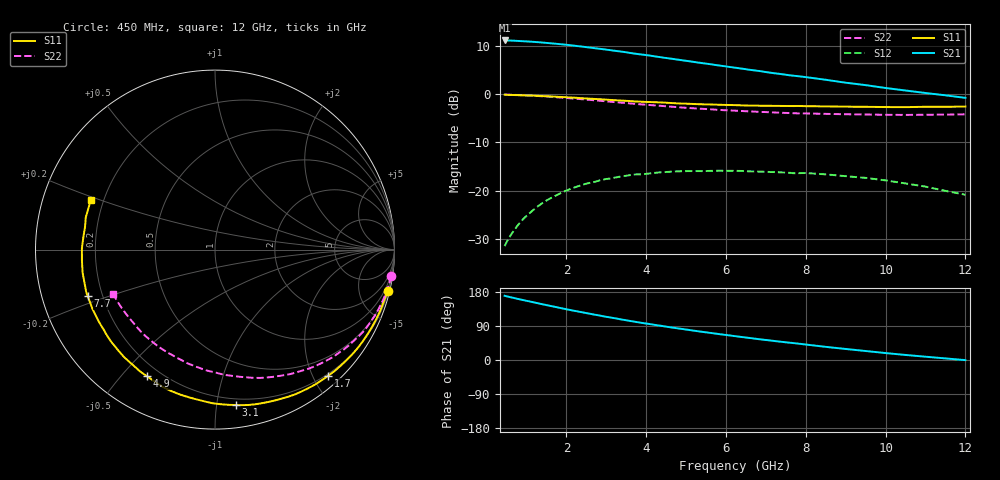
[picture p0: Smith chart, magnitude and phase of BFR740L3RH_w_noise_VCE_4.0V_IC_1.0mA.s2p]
! (c) 2012  Infineon Technologies AG, Munich
! Infineon Technologies  Discrete & RF Semiconductors
! BFR740L3RH
! VCE =  4.0 V,  IC =  1.0 mA
! Common Emitter S-Parameters:  May 2012
# GHz  S  MA  R  50
!  f  S11  S21  S12  S22
! GHz  MAG  ANG  MAG  ANG  MAG  ANG  MAG  ANG
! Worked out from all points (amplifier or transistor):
!   85 points, 450 MHz to 12 GHz, reference 50 ohm
!   highest |S21| = 11.2 dB at 450 MHz (marker M1)
!   |S21| within 3 dB of that: start of sweep to 3.966 GHz
!   unconditionally stable (mu >= 1): 10.41 GHz to end of sweep
!   at 1.8 GHz: K = 0.10, MSG = 15.6 dB, |S12| = -20.7 dB
!   at 4.6 GHz: K = 0.26, MSG = 11.7 dB, |S12| = -16.1 dB
!   at 12 GHz: K = 1.55, MAG = 5.7 dB, |S12| = -20.8 dB
!   lowest NFmin = 0.29 dB at 450 MHz
!   S11 on the Smith chart (normalised r, x): 450 MHz: 0.35, -8.43; 1.7 GHz: 0.17, -2.24; 3.1 GHz: 0.15, -1.13; 4.9 GHz: 0.15, -0.59; 7.7 GHz: 0.14, -0.17; 12 GHz: 0.15, +0.19
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0.45  0.9904 -13.5  3.614 169.4  0.0266 71.3  0.9944 -8.6
0.7  0.9815 -20.4  3.59 163.2  0.0396 74.3  0.985 -13.3
1  0.9723 -28.8  3.533 156.2  0.0549 68.3  0.973 -18.6
1.4  0.9575 -39.9  3.437 147.1  0.0746 61.1  0.9534 -25.8
1.7  0.9448 -48.0  3.351 140.5  0.0876 55.3  0.9357 -31.0
2.1  0.9259 -58.6  3.226 131.8  0.1043 47.9  0.9083 -37.7
2.4  0.9092 -66.0  3.117 125.7  0.1152 42.6  0.8878 -42.5
2.7  0.8947 -73.1  3.007 119.8  0.1234 37.5  0.8662 -47.0
3.1  0.8737 -82.4  2.865 112.2  0.134 31.1  0.8369 -53.0
3.4  0.8596 -89.1  2.761 106.6  0.141 26.5  0.8163 -57.4
3.8  0.8399 -97.6  2.609 99.4  0.1478 20.4  0.7898 -63.0
4.3  0.8245 -107.3  2.442 91.3  0.1544 13.6  0.7621 -69.6
4.7  0.808 -114.8  2.314 84.8  0.1582 8.3  0.7396 -74.7
4.9  0.8005 -118.4  2.252 81.9  0.1593 5.6  0.7283 -77.3
5.5  0.7856 -128.6  2.078 73.0  0.1599 -2.2  0.7029 -84.6
6.3  0.7698 -140.9  1.868 61.9  0.1604 -10.8  0.6741 -94.2
6.9  0.7601 -149.5  1.725 54.0  0.1575 -17.4  0.6556 -101.4
7.7  0.7547 -159.9  1.556 44.5  0.1518 -25.4  0.636 -110.8
8.5  0.7489 -170.0  1.413 34.7  0.1477 -34.2  0.6263 -119.8
9.5  0.7415 179.4  1.244 23.7  0.1359 -44.8  0.6173 -131.0
10.5  0.735 170.1  1.094 13.3  0.1189 -56.0  0.611 -141.7
12  0.7449 158.3  0.918 -0.3  0.0908 -70.6  0.6199 -156.5
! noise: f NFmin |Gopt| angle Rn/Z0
0.45  0.29  0.92  6  0.48
0.9  0.32  0.91  18  0.46
1.5  0.4  0.89  31  0.42
1.9  0.48  0.84  40  0.4
2.4  0.57  0.79  49  0.38
3.5  0.79  0.75  68  0.33
5.5  1.16  0.78  97  0.21
8  1.59  0.72  139  0.09
10  1.91  0.71  161  0.05
12  2.2  0.81  -162  0.04
